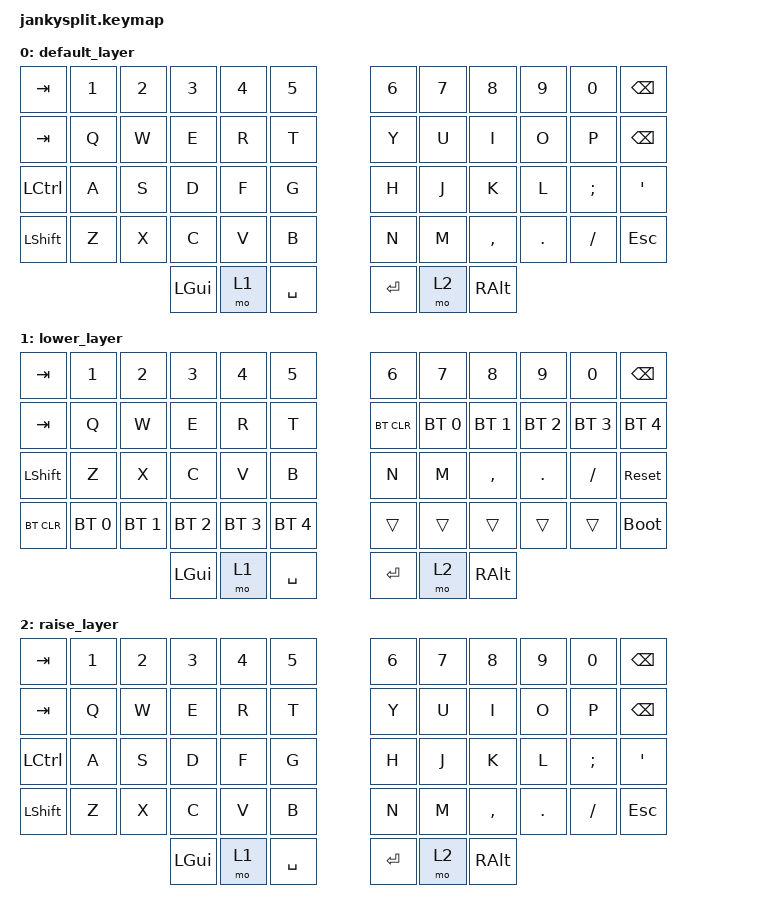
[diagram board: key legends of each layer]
#include <behaviors.dtsi>
#include <dt-bindings/zmk/keys.h>
#include <dt-bindings/zmk/bt.h>

/ {
        keymap {
                compatible = "zmk,keymap";

                default_layer {
// -----------------------------------------------------------------------------------------
// |  TAB |  1  |  2  |  3  |  4  |  5  |   |  6  |  7  |  8  |  9  |  0  | BSPC |
// |  TAB |  Q  |  W  |  E  |  R  |  T  |   |  Y  |  U   |  I  |  O  |  P  | BSPC |
// | CTRL |  A  |  S  |  D  |  F  |  G  |   |  H  |  J   |  K  |  L  |  ;  |  '   |
// | SHFT |  Z  |  X  |  C  |  V  |  B  |   |  N  |  M   |  ,  |  .  |  /  | ESC  |
//                    | GUI | LWR | SPC |   | ENT | RSE  | ALT |
                        bindings = <
   &kp TAB &kp N1 &kp N2 &kp N3 &kp N4 &kp N5 &kp N6 &kp N7 &kp N8 &kp N9 &kp N0 &kp BSPC
   &kp TAB   &kp Q &kp W &kp E &kp R &kp T   &kp Y &kp U  &kp I     &kp O   &kp P    &kp BSPC
   &kp LCTRL &kp A &kp S &kp D &kp F &kp G   &kp H &kp J  &kp K     &kp L   &kp SEMI &kp SQT
   &kp LSHFT &kp Z &kp X &kp C &kp V &kp B   &kp N &kp M  &kp COMMA &kp DOT &kp FSLH &kp ESC
                  &kp LGUI &mo 1 &kp SPACE   &kp RET &mo 2 &kp RALT
                        >;
                };
                lower_layer {
// -----------------------------------------------------------------------------------------
// |  TAB |  1  |  2  |  3  |  4  |  5  |   |  6  |  7  |  8  |  9  |  0  | BSPC |
// |  TAB |  Q  |  W  |  E  |  R  |  T  |   | BTCLR| BT1 | BT2 | BT3 | BT4 | BT5 |
// | CTRL |  A  |  S  |  D  |  F  |  G  |   |  H  |  J   |  K  |  L  |  ;  |  '   |
// | SHFT |  Z  |  X  |  C  |  V  |  B  |   |  N  |  M   |  ,  |  .  |  /  | RST  |
// | BTCLR| BT1 | BT2 | BT3 | BT4 | BT5 |   |     |      |     |     |     | BOOT |
//                    | GUI | LWR | SPC |   | ENT | RSE  | ALT |
                        bindings = <
   &kp TAB &kp N1 &kp N2 &kp N3 &kp N4 &kp N5 &kp N6 &kp N7 &kp N8 &kp N9 &kp N0 &kp BSPC
   &kp TAB   &kp Q &kp W &kp E &kp R &kp T   &bt BT_CLR &bt BT_SEL 0 &bt BT_SEL 1 &bt BT_SEL 2 &bt BT_SEL 3 &bt BT_SEL 4
   &kp LSHFT &kp Z &kp X &kp C &kp V &kp B   &kp N &kp M  &kp COMMA &kp DOT &kp FSLH &sys_reset
   &bt BT_CLR &bt BT_SEL 0 &bt BT_SEL 1 &bt BT_SEL 2 &bt BT_SEL 3 &bt BT_SEL 4   &trans &trans &trans &trans &trans &bootloader
                  &kp LGUI &mo 1 &kp SPACE   &kp RET &mo 2 &kp RALT
                        >;
                };

                raise_layer {
// -----------------------------------------------------------------------------------------
// |  TAB |  1  |  2  |  3  |  4  |  5  |   |  6  |  7  |  8  |  9  |  0  | BSPC |
// |  TAB |  Q  |  W  |  E  |  R  |  T  |   |  Y  |  U   |  I  |  O  |  P  | BSPC |
// | CTRL |  A  |  S  |  D  |  F  |  G  |   |  H  |  J   |  K  |  L  |  ;  |  '   |
// | SHFT |  Z  |  X  |  C  |  V  |  B  |   |  N  |  M   |  ,  |  .  |  /  | ESC  |
//                    | GUI | LWR | SPC |   | ENT | RSE  | ALT |
                        bindings = <
   &kp TAB &kp N1 &kp N2 &kp N3 &kp N4 &kp N5 &kp N6 &kp N7 &kp N8 &kp N9 &kp N0 &kp BSPC
   &kp TAB   &kp Q &kp W &kp E &kp R &kp T   &kp Y &kp U  &kp I     &kp O   &kp P    &kp BSPC
   &kp LCTRL &kp A &kp S &kp D &kp F &kp G   &kp H &kp J  &kp K     &kp L   &kp SEMI &kp SQT
   &kp LSHFT &kp Z &kp X &kp C &kp V &kp B   &kp N &kp M  &kp COMMA &kp DOT &kp FSLH &kp ESC
                  &kp LGUI &mo 1 &kp SPACE   &kp RET &mo 2 &kp RALT
                        >;
                };
        };
};
